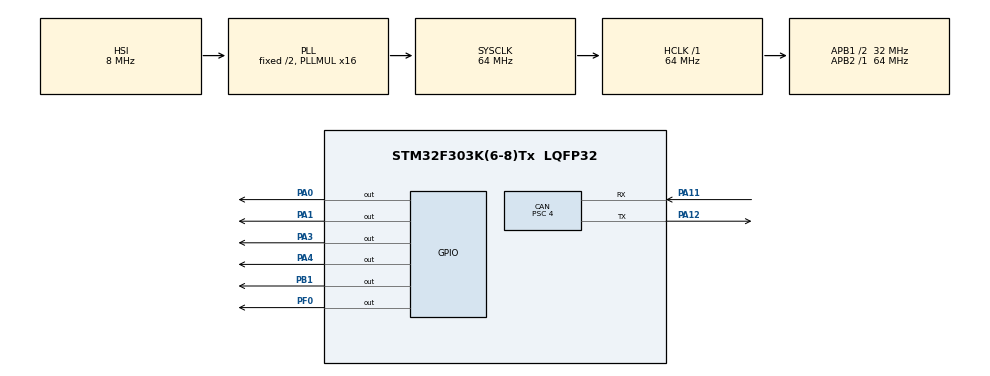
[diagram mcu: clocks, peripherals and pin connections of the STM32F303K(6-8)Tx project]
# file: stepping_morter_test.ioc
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CAN.BS1=CAN_BS1_13TQ
CAN.BS2=CAN_BS2_4TQ
CAN.CalculateBaudRate=444444
CAN.CalculateTimeBit=2250.00
CAN.CalculateTimeQuantum=125.0
CAN.Prescaler=4
Mcu.Family=STM32F3
Mcu.Name=STM32F303K(6-8)Tx
Mcu.Package=LQFP32
NVIC.PriorityGroup=NVIC_PRIORITYGROUP_4
NVIC.TIM2_IRQn=true\:0\:0\:false\:false\:true\:true\:true
PA0.Signal=GPIO_Output
PA1.Signal=GPIO_Output
PA11.Mode=CAN_Activate
PA11.Signal=CAN_RX
PA12.Mode=CAN_Activate
PA12.Signal=CAN_TX
PA3.Signal=GPIO_Output
PA4.Signal=GPIO_Output
PB1.PinState=GPIO_PIN_RESET
PB1.Signal=GPIO_Output
PF0\ /\ OSC_IN.Signal=GPIO_Output
ProjectManager.HeapSize=0x200
ProjectManager.StackSize=0x400
ProjectManager.TargetToolchain=STM32CubeIDE
RCC.AHBFreq_Value=64000000
RCC.APB1CLKDivider=RCC_HCLK_DIV2
RCC.APB1Freq_Value=32000000
RCC.APB1TimFreq_Value=64000000
RCC.APB2Freq_Value=64000000
RCC.APB2TimFreq_Value=64000000
RCC.CortexFreq_Value=64000000
RCC.HCLKFreq_Value=64000000
RCC.HSE_VALUE=8000000
RCC.HSI_VALUE=8000000
RCC.PLLMUL=RCC_PLL_MUL16
RCC.SYSCLKFreq_VALUE=64000000
RCC.SYSCLKSourceVirtual=RCC_SYSCLKSOURCE_PLLCLK
TIM2.AutoReloadPreload=TIM_AUTORELOAD_PRELOAD_DISABLE
TIM2.Period=100
TIM2.Prescaler=6400-1
VP_TIM2_VS_ClockSourceINT.Mode=Internal
board=custom

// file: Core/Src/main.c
/* USER CODE BEGIN Header */
/**
  ******************************************************************************
  * @file           : main.c
  * @brief          : Main program body
  ******************************************************************************
  * @attention
  *
  * <h2><center>&copy; Copyright (c) 2021 STMicroelectronics.
  * All rights reserved.</center></h2>
  *
  * This software component is licensed by ST under BSD 3-Clause license,
  * the "License"; You may not use this file except in compliance with the
  * License. You may obtain a copy of the License at:
  *                        opensource.org/licenses/BSD-3-Clause
  *
  ******************************************************************************
  */
/* USER CODE END Header */
#include "main.h"

CAN_HandleTypeDef hcan;

TIM_HandleTypeDef htim2;

void SystemClock_Config(void);
static void MX_GPIO_Init(void);
static void MX_CAN_Init(void);
static void MX_TIM2_Init(void);

/* USER CODE BEGIN 0 */

CAN_FilterTypeDef filter;
void Filter_Init(){
	filter.FilterIdHigh         = 0;
	filter.FilterIdLow          = 0;
	filter.FilterMaskIdHigh     = 0;
	filter.FilterMaskIdLow      = 0;
	filter.FilterScale          = CAN_FILTERSCALE_32BIT;
	filter.FilterFIFOAssignment = CAN_FILTER_FIFO0;
	filter.FilterBank           = 0;
	filter.FilterMode           = CAN_FILTERMODE_IDMASK;
	filter.SlaveStartFilterBank = 14;
	filter.FilterActivation     = ENABLE;
	HAL_CAN_ConfigFilter(&hcan, &filter);
}

uint32_t id;
uint32_t dlc;
uint8_t data[8];

CAN_TxHeaderTypeDef TxHeader;
uint32_t TxMailbox;
uint8_t TxData[8];

int close_step_left=0;

void HAL_CAN_RxFifo0MsgPendingCallback(CAN_HandleTypeDef *hcan)
{

	CAN_RxHeaderTypeDef RxHeader;
	uint8_t RxData[8];

    if (HAL_CAN_GetRxMessage(hcan, CAN_RX_FIFO0, &RxHeader, RxData) == HAL_OK)
    {
    	if(RxHeader.StdId==0x552){
			id = (RxHeader.IDE == CAN_ID_STD)? RxHeader.StdId : RxHeader.ExtId;
			dlc = RxHeader.DLC;

			if(RxData[1]=='C'){
				close_step_left=100;
			}
			else if(RxData[1]=='O'){
				close_step_left=0;
			}

			data[0] = RxData[0];
			data[1] = RxData[1];
			data[2] = RxData[2];
			data[3] = RxData[3];
			data[4] = RxData[4];
			data[5] = RxData[5];
			data[6] = RxData[6];
			data[7] = RxData[7];
    	}
    }

}

int stepping_output[4][2]={{0,0},{0,1},{1,1},{1,0}};
int stepping_step=0;
int seitenn=1;

void HAL_TIM_PeriodElapsedCallback(TIM_HandleTypeDef *htim)
{
    if (htim == &htim2){
    	if(seitenn==1){
    		stepping_step++;
    	}
    	else {
    		stepping_step--;
    	}
/*
    	if(stepping_step<4){
    		stepping_step += 4;
    	}
    	stepping_step %= 4;
*/

    	if(stepping_step==500){
    		seitenn=0;
    	}
    	if(stepping_step==0){
    		seitenn=1;
    	}

    	if(stepping_output[stepping_step%4][0]==0){
    		//HAL_GPIO_WritePin(GPIOB, GPIO_PIN_1,GPIO_PIN_RESET);
    		HAL_GPIO_WritePin(GPIOA, GPIO_PIN_0,GPIO_PIN_RESET);
    		HAL_GPIO_WritePin(GPIOA, GPIO_PIN_1,GPIO_PIN_SET);
    	}
    	else {
    		//HAL_GPIO_WritePin(GPIOB, GPIO_PIN_1,GPIO_PIN_SET);
    		HAL_GPIO_WritePin(GPIOA, GPIO_PIN_0,GPIO_PIN_SET);
    		HAL_GPIO_WritePin(GPIOA, GPIO_PIN_1,GPIO_PIN_RESET);
    	}

    	if(stepping_output[stepping_step%4][1]==0){
    		//HAL_GPIO_WritePin(GPIOF, GPIO_PIN_0,GPIO_PIN_RESET);
    		HAL_GPIO_WritePin(GPIOA, GPIO_PIN_3,GPIO_PIN_RESET);
    		HAL_GPIO_WritePin(GPIOA, GPIO_PIN_4,GPIO_PIN_SET);
    	}
    	else {
    		//HAL_GPIO_WritePin(GPIOF, GPIO_PIN_0,GPIO_PIN_SET);
    		HAL_GPIO_WritePin(GPIOA, GPIO_PIN_3,GPIO_PIN_SET);
    		HAL_GPIO_WritePin(GPIOA, GPIO_PIN_4,GPIO_PIN_RESET);
    	}
    }
}

/* USER CODE END 0 */

int main(void)
{

  /* MCU Configuration--------------------------------------------------------*/

  /* Reset of all peripherals, Initializes the Flash interface and the Systick. */
  HAL_Init();

  /* Configure the system clock */
  SystemClock_Config();

  /* Initialize all configured peripherals */
  MX_GPIO_Init();
  MX_CAN_Init();
  MX_TIM2_Init();
  /* USER CODE BEGIN 2 */
  HAL_TIM_Base_Start_IT(&htim2);

	HAL_CAN_Start(&hcan);
	Filter_Init();
	HAL_CAN_ActivateNotification(&hcan, CAN_IT_RX_FIFO0_MSG_PENDING);

	HAL_GPIO_WritePin(GPIOA, GPIO_PIN_0,GPIO_PIN_RESET);
	HAL_GPIO_WritePin(GPIOA, GPIO_PIN_1,GPIO_PIN_RESET);
	HAL_GPIO_WritePin(GPIOA, GPIO_PIN_3,GPIO_PIN_RESET);
	HAL_GPIO_WritePin(GPIOA, GPIO_PIN_4,GPIO_PIN_RESET);

  /* USER CODE END 2 */

  /* Infinite loop */
  while (1)
  {

  }
}

void SystemClock_Config(void)
{
  RCC_OscInitTypeDef RCC_OscInitStruct = {0};
  RCC_ClkInitTypeDef RCC_ClkInitStruct = {0};

  /** Initializes the RCC Oscillators according to the specified parameters
  * in the RCC_OscInitTypeDef structure.
  */
  RCC_OscInitStruct.OscillatorType = RCC_OSCILLATORTYPE_HSI;
  RCC_OscInitStruct.HSIState = RCC_HSI_ON;
  RCC_OscInitStruct.HSICalibrationValue = RCC_HSICALIBRATION_DEFAULT;
  RCC_OscInitStruct.PLL.PLLState = RCC_PLL_ON;
  RCC_OscInitStruct.PLL.PLLSource = RCC_PLLSOURCE_HSI;
  RCC_OscInitStruct.PLL.PLLMUL = RCC_PLL_MUL16;
  if (HAL_RCC_OscConfig(&RCC_OscInitStruct) != HAL_OK)
  {
    Error_Handler();
  }
  /** Initializes the CPU, AHB and APB buses clocks
  */
  RCC_ClkInitStruct.ClockType = RCC_CLOCKTYPE_HCLK|RCC_CLOCKTYPE_SYSCLK
                              |RCC_CLOCKTYPE_PCLK1|RCC_CLOCKTYPE_PCLK2;
  RCC_ClkInitStruct.SYSCLKSource = RCC_SYSCLKSOURCE_PLLCLK;
  RCC_ClkInitStruct.AHBCLKDivider = RCC_SYSCLK_DIV1;
  RCC_ClkInitStruct.APB1CLKDivider = RCC_HCLK_DIV2;
  RCC_ClkInitStruct.APB2CLKDivider = RCC_HCLK_DIV1;

  if (HAL_RCC_ClockConfig(&RCC_ClkInitStruct, FLASH_LATENCY_2) != HAL_OK)
  {
    Error_Handler();
  }
}

static void MX_CAN_Init(void)
{

  hcan.Instance = CAN;
  hcan.Init.Prescaler = 4;
  hcan.Init.Mode = CAN_MODE_NORMAL;
  hcan.Init.SyncJumpWidth = CAN_SJW_1TQ;
  hcan.Init.TimeSeg1 = CAN_BS1_13TQ;
  hcan.Init.TimeSeg2 = CAN_BS2_4TQ;
  hcan.Init.TimeTriggeredMode = DISABLE;
  hcan.Init.AutoBusOff = DISABLE;
  hcan.Init.AutoWakeUp = DISABLE;
  hcan.Init.AutoRetransmission = DISABLE;
  hcan.Init.ReceiveFifoLocked = DISABLE;
  hcan.Init.TransmitFifoPriority = DISABLE;
  if (HAL_CAN_Init(&hcan) != HAL_OK)
  {
    Error_Handler();
  }

}

static void MX_TIM2_Init(void)
{

  TIM_ClockConfigTypeDef sClockSourceConfig = {0};
  TIM_MasterConfigTypeDef sMasterConfig = {0};

  htim2.Instance = TIM2;
  htim2.Init.Prescaler = 6400-1;
  htim2.Init.CounterMode = TIM_COUNTERMODE_UP;
  htim2.Init.Period = 100;
  htim2.Init.ClockDivision = TIM_CLOCKDIVISION_DIV1;
  htim2.Init.AutoReloadPreload = TIM_AUTORELOAD_PRELOAD_DISABLE;
  if (HAL_TIM_Base_Init(&htim2) != HAL_OK)
  {
    Error_Handler();
  }
  sClockSourceConfig.ClockSource = TIM_CLOCKSOURCE_INTERNAL;
  if (HAL_TIM_ConfigClockSource(&htim2, &sClockSourceConfig) != HAL_OK)
  {
    Error_Handler();
  }
  sMasterConfig.MasterOutputTrigger = TIM_TRGO_RESET;
  sMasterConfig.MasterSlaveMode = TIM_MASTERSLAVEMODE_DISABLE;
  if (HAL_TIMEx_MasterConfigSynchronization(&htim2, &sMasterConfig) != HAL_OK)
  {
    Error_Handler();
  }

}

static void MX_GPIO_Init(void)
{
  GPIO_InitTypeDef GPIO_InitStruct = {0};

  /* GPIO Ports Clock Enable */
  __HAL_RCC_GPIOF_CLK_ENABLE();
  __HAL_RCC_GPIOA_CLK_ENABLE();
  __HAL_RCC_GPIOB_CLK_ENABLE();

  /*Configure GPIO pin Output Level */
  HAL_GPIO_WritePin(GPIOF, GPIO_PIN_0, GPIO_PIN_RESET);

  /*Configure GPIO pin Output Level */
  HAL_GPIO_WritePin(GPIOA, GPIO_PIN_0|GPIO_PIN_1|GPIO_PIN_3|GPIO_PIN_4, GPIO_PIN_RESET);

  /*Configure GPIO pin Output Level */
  HAL_GPIO_WritePin(GPIOB, GPIO_PIN_1, GPIO_PIN_RESET);

  /*Configure GPIO pin : PF0 */
  GPIO_InitStruct.Pin = GPIO_PIN_0;
  GPIO_InitStruct.Mode = GPIO_MODE_OUTPUT_PP;
  GPIO_InitStruct.Pull = GPIO_NOPULL;
  GPIO_InitStruct.Speed = GPIO_SPEED_FREQ_LOW;
  HAL_GPIO_Init(GPIOF, &GPIO_InitStruct);

  /*Configure GPIO pins : PA0 PA1 PA3 PA4 */
  GPIO_InitStruct.Pin = GPIO_PIN_0|GPIO_PIN_1|GPIO_PIN_3|GPIO_PIN_4;
  GPIO_InitStruct.Mode = GPIO_MODE_OUTPUT_PP;
  GPIO_InitStruct.Pull = GPIO_NOPULL;
  GPIO_InitStruct.Speed = GPIO_SPEED_FREQ_LOW;
  HAL_GPIO_Init(GPIOA, &GPIO_InitStruct);

  /*Configure GPIO pin : PB1 */
  GPIO_InitStruct.Pin = GPIO_PIN_1;
  GPIO_InitStruct.Mode = GPIO_MODE_OUTPUT_PP;
  GPIO_InitStruct.Pull = GPIO_NOPULL;
  GPIO_InitStruct.Speed = GPIO_SPEED_FREQ_LOW;
  HAL_GPIO_Init(GPIOB, &GPIO_InitStruct);

}

void Error_Handler(void)
{
  __disable_irq();
  while (1)
  {
  }
}

/************************ (C) COPYRIGHT STMicroelectronics *****END OF FILE****/
